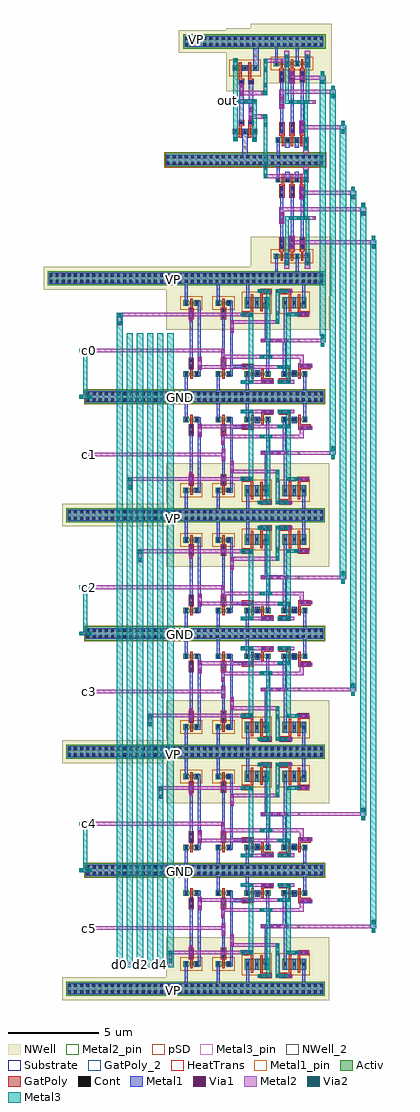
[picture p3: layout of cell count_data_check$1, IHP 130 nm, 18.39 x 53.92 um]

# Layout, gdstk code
from math import pi, radians
import gdstk
lib = gdstk.Library(unit=1e-6, precision=1e-09)
def R(c, l, rs):  # rectangles x0, y0, x1, y1
    for r in rs: c.add(gdstk.rectangle(r[:2], r[2:], *l))
def A(c, l, x, y, w, h, nx, ny, dx, dy):  # array of equal rectangles
    R(c, l, [(x+i*dx, y+j*dy, x+i*dx+w, y+j*dy+h) for i in range(nx) for j in range(ny)])
def P(c, l, *ps):  # polygons
    for p in ps: c.add(gdstk.Polygon(p, *l))
Activ = (1, 0)
GatPoly = (5, 0)
GatPoly_2 = (5, 2)
Cont = (6, 0)
Metal1 = (8, 0)
Metal1_pin = (8, 2)
Metal2 = (10, 0)
Metal2_pin = (10, 2)
pSD = (14, 0)
Via1 = (19, 0)
Via2 = (29, 0)
Metal3 = (30, 0)
Metal3_pin = (30, 2)
NWell = (31, 0)
NWell_2 = (31, 2)
Substrate = (40, 0)
HeatTrans = (51, 0)

via_4_7_1_1 = lib.new_cell('Via$4$7$1$1')
R(via_4_7_1_1, Metal1, [(-0.105,-0.35,0.105,0.35)])
R(via_4_7_1_1, Metal2, [(-0.1,-0.35,0.1,0.35)])
R(via_4_7_1_1, Via1, [(-0.095,-0.3,0.095,-0.11), (-0.095,0.11,0.095,0.3)])

via_7_5_1_1 = lib.new_cell('Via$7$5$1$1')
R(via_7_5_1_1, Metal2, [(-0.1,-0.555,0.1,0.555)])
A(via_7_5_1_1, Via2, -0.095, -0.505, 0.19, 0.19, 1, 3, 0, 0.41)
R(via_7_5_1_1, Metal3, [(-0.1,-0.555,0.1,0.555)])

nmos_4_3_1_1 = lib.new_cell('nmos$4$3$1$1')
A(nmos_4_3_1_1, Activ, 0, 0, 0.3, 0.3, 4, 1, 0.51, 0)
R(nmos_4_3_1_1, Activ, [(0,0,1.83,0.3)])
A(nmos_4_3_1_1, GatPoly, 0.34, -0.18, 0.13, 0.66, 3, 1, 0.51, 0)
R(nmos_4_3_1_1, GatPoly_2, [(0.34,-0.18,0.47,0.48)])
A(nmos_4_3_1_1, Cont, 0.07, 0.07, 0.16, 0.16, 4, 1, 0.51, 0)
A(nmos_4_3_1_1, Metal1, 0.07, 0, 0.16, 0.3, 4, 1, 0.51, 0)
R(nmos_4_3_1_1, Metal1_pin, [(0.07,0,0.23,0.3), (0.58,0,0.74,0.3)])
A(nmos_4_3_1_1, HeatTrans, 0.34, -0.18, 0.13, 0.66, 3, 1, 0.51, 0)
nmos_4_3_1_1.add(gdstk.Label('nmos', (0.405,0.15), layer=63, texttype=0))
nmos_4_3_1_1.add(gdstk.Label('nmos', (0.405,0.15), layer=51, texttype=0))
nmos_4_3_1_1.add(gdstk.Label('nmos', (0.915,0.15), layer=51, texttype=0))
nmos_4_3_1_1.add(gdstk.Label('nmos', (1.425,0.15), layer=51, texttype=0))

ntap1_1_1_1 = lib.new_cell('ntap1$1$1$1')
R(ntap1_1_1_1, Activ, [(0,0,3.5,0.78)])
A(ntap1_1_1_1, Cont, 0.14, 0.14, 0.16, 0.16, 10, 2, 0.34, 0.34)
R(ntap1_1_1_1, Metal1, [(0.14,0.09,3.36,0.69)])
R(ntap1_1_1_1, Metal1_pin, [(0.14,0.09,3.36,0.69), (0.14,0.14,3.36,0.64)])
R(ntap1_1_1_1, NWell, [(-0.24,-0.24,3.74,1.02), (0,0,3.5,0.78)])
R(ntap1_1_1_1, NWell_2, [(0,0,3.5,0.78)])
ntap1_1_1_1.add(gdstk.Label('well', (1.75,0.01), layer=63, texttype=0))
ntap1_1_1_1.add(gdstk.Label('well', (1.75,0.01), layer=31, texttype=0))

ptap1_3_5_1_1 = lib.new_cell('ptap1$3$5$1$1')
R(ptap1_3_5_1_1, Activ, [(0,0,3.5,0.78)])
A(ptap1_3_5_1_1, Cont, 0.14, 0.14, 0.16, 0.16, 10, 2, 0.34, 0.34)
R(ptap1_3_5_1_1, Metal1, [(0.14,0.09,3.36,0.69), (0.14,0.14,3.36,0.64)])
R(ptap1_3_5_1_1, Metal1_pin, [(0.14,0.14,3.36,0.64)])
R(ptap1_3_5_1_1, pSD, [(-0.03,-0.03,3.53,0.81)])
R(ptap1_3_5_1_1, Substrate, [(0,0,3.5,0.78)])
ptap1_3_5_1_1.add(gdstk.Label('sub!', (1.75,0.01), layer=63, texttype=0))
ptap1_3_5_1_1.add(gdstk.Label('sub!', (1.75,0.01), layer=40, texttype=0))

via_5_7_1_1 = lib.new_cell('Via$5$7$1$1')
R(via_5_7_1_1, Metal2, [(-0.1,-0.35,0.1,0.35)])
R(via_5_7_1_1, Via2, [(-0.095,-0.3,0.095,-0.11), (-0.095,0.11,0.095,0.3)])
R(via_5_7_1_1, Metal3, [(-0.1,-0.35,0.1,0.35)])

via_6_5_1_1 = lib.new_cell('Via$6$5$1$1')
R(via_6_5_1_1, GatPoly, [(-0.32,-0.15,0.32,0.15)])
R(via_6_5_1_1, Cont, [(-0.25,-0.08,-0.09,0.08), (0.09,-0.08,0.25,0.08)])
R(via_6_5_1_1, Metal1, [(-0.3,-0.08,0.3,0.08)])

pmos_1_5_1_1 = lib.new_cell('pmos$1$5$1$1')
A(pmos_1_5_1_1, Activ, 0, 0, 0.3, 0.3, 4, 1, 0.57, 0)
R(pmos_1_5_1_1, Activ, [(0,0.075,2.01,0.225)])
A(pmos_1_5_1_1, GatPoly, 0.37, -0.105, 0.13, 0.51, 3, 1, 0.57, 0)
A(pmos_1_5_1_1, Cont, 0.07, 0.07, 0.16, 0.16, 4, 1, 0.57, 0)
A(pmos_1_5_1_1, Metal1, 0.07, 0.02, 0.16, 0.26, 4, 1, 0.57, 0)
R(pmos_1_5_1_1, pSD, [(-0.18,-0.225,2.19,0.525)])
R(pmos_1_5_1_1, NWell, [(-0.31,-0.31,2.32,0.61)])
R(pmos_1_5_1_1, Substrate, [(1.71,0,2.01,0.3)])
A(pmos_1_5_1_1, HeatTrans, 0.37, -0.105, 0.13, 0.51, 3, 1, 0.57, 0)
pmos_1_5_1_1.add(gdstk.Label('pmos', (0.435,0.15), layer=63, texttype=0))
pmos_1_5_1_1.add(gdstk.Label('pmos', (0.435,0.15), layer=51, texttype=0))
pmos_1_5_1_1.add(gdstk.Label('pmos', (1.005,0.15), layer=51, texttype=0))
pmos_1_5_1_1.add(gdstk.Label('pmos', (1.575,0.15), layer=51, texttype=0))

nand_3in_nmosx3_5_1_1 = lib.new_cell('NAND_3in_nmosx3$5$1$1')
R(nand_3in_nmosx3_5_1_1, GatPoly, [(0.115,-3.025,0.245,-2.915), (0.685,-3.025,0.815,-2.915), (0.035,-3.005,0.335,-2.895), (0.605,-3.005,0.905,-2.895), (1.165,-3.005,1.465,-2.895), (0.03,0.58,0.33,0.73), (0.6,0.58,0.9,0.73), (1.16,0.58,1.46,0.73), (0.68,0.68,0.81,0.77), (1.25,0.68,1.38,0.77)])
R(nand_3in_nmosx3_5_1_1, Metal1, [(-0.095,-4.15,0.065,-3.37), (0.375,-3.675,0.615,-3.415), (0.885,-3.675,1.125,-3.415), (0.375,-3.435,0.615,-3.095), (0.885,-3.435,1.125,-3.095), (0.67,-2.44,0.835,-2.09), (0.1,-2.42,0.265,-1.91), (0.67,-2.21,0.83,-1.27), (1.23,-2.21,1.39,-1.27), (0.1,-1.91,0.26,-0.56), (0.67,-1.31,0.83,-0.37), (1.23,-1.31,1.39,-0.37), (0.1,-0.62,0.26,-0.04), (1.23,-0.53,1.39,0), (0.67,-0.37,0.83,-0.11), (0.95,1,1.11,1.2), (-0.19,1.01,-0.03,1.15), (-0.19,1.115,-0.03,1.99), (0.95,1.115,1.11,1.94)])
R(nand_3in_nmosx3_5_1_1, Metal1_pin, [(0.44,-4.405,0.57,-4.275), (0.74,2.15,0.87,2.28)])
R(nand_3in_nmosx3_5_1_1, Metal2, [(1.375,-3.995,1.665,-3.795), (1.375,-3.795,1.665,-3.095), (1.155,-2.875,1.455,-2.175), (0.03,-1.51,0.33,-0.81), (1.62,-1.24,2.05,-1.04), (0.59,-0.14,0.89,0.56), (0.31,0.78,0.6,0.98), (1.45,0.78,1.74,0.98), (0.31,0.98,0.6,1.68), (1.45,0.98,1.74,1.68)])
R(nand_3in_nmosx3_5_1_1, Metal2_pin, [(1.255,-2.385,1.385,-2.255), (0.11,-1.215,0.24,-1.085), (1.905,-1.205,2.035,-1.075), (0.69,-0.07,0.82,0.06)])
R(nand_3in_nmosx3_5_1_1, Metal3, [(1.425,-3.105,1.625,-2.905), (1.425,-2.905,1.625,-2.5), (1.425,-2.5,1.625,-1.15), (0.36,-1.24,0.56,-0.97), (0.38,-1.24,0.565,-1.04), (1.66,-1.24,1.7,-1.09), (1.5,-1.09,1.7,0.17), (0.36,-0.97,0.56,0.26), (1.5,-0.03,1.7,0.62), (0.36,0.08,0.56,0.78), (1.5,0.62,1.7,0.72), (1.5,0.71,1.7,0.87)])
R(nand_3in_nmosx3_5_1_1, NWell, [(-1.52,-0.1,-0.85,3.17), (-0.85,-0.1,2.93,3.17)])
nand_3in_nmosx3_5_1_1.add(gdstk.Reference(via_4_7_1_1, (1.525,-3.445), rotation=pi))
nand_3in_nmosx3_5_1_1.add(gdstk.Reference(via_4_7_1_1, (1.315,-2.525), rotation=pi))
nand_3in_nmosx3_5_1_1.add(gdstk.Reference(via_4_7_1_1, (0.18,-1.16), rotation=pi))
nand_3in_nmosx3_5_1_1.add(gdstk.Reference(via_4_7_1_1, (0.75,0.21), rotation=pi))
nand_3in_nmosx3_5_1_1.add(gdstk.Reference(via_4_7_1_1, (0.46,1.13), rotation=pi))
nand_3in_nmosx3_5_1_1.add(gdstk.Reference(via_4_7_1_1, (1.6,1.13), rotation=pi))
nand_3in_nmosx3_5_1_1.add(gdstk.Reference(via_7_5_1_1, (1.12,-1.14), rotation=3*pi/2))
nand_3in_nmosx3_5_1_1.add(gdstk.Reference(nmos_4_3_1_1, (1.665,-3.095), rotation=pi))
nand_3in_nmosx3_5_1_1.add(gdstk.Reference(ntap1_1_1_1, (-0.9,1.81)))
nand_3in_nmosx3_5_1_1.add(gdstk.Reference(ptap1_3_5_1_1, (-0.89,-4.73)))
nand_3in_nmosx3_5_1_1.add(gdstk.Reference(via_5_7_1_1, (1.525,-3.445), rotation=pi))
nand_3in_nmosx3_5_1_1.add(gdstk.Reference(via_5_7_1_1, (0.46,1.13), rotation=pi))
nand_3in_nmosx3_5_1_1.add(gdstk.Reference(via_5_7_1_1, (1.6,1.13), rotation=pi))
nand_3in_nmosx3_5_1_1.add(gdstk.Reference(via_6_5_1_1, (0.185,-2.575), rotation=3*pi/2))
nand_3in_nmosx3_5_1_1.add(gdstk.Reference(via_6_5_1_1, (0.755,-2.575), rotation=3*pi/2))
nand_3in_nmosx3_5_1_1.add(gdstk.Reference(via_6_5_1_1, (1.315,-2.575), rotation=3*pi/2))
nand_3in_nmosx3_5_1_1.add(gdstk.Reference(via_6_5_1_1, (0.18,0.26), rotation=3*pi/2))
nand_3in_nmosx3_5_1_1.add(gdstk.Reference(via_6_5_1_1, (0.75,0.26), rotation=3*pi/2))
nand_3in_nmosx3_5_1_1.add(gdstk.Reference(via_6_5_1_1, (1.31,0.26), rotation=3*pi/2))
nand_3in_nmosx3_5_1_1.add(gdstk.Reference(pmos_1_5_1_1, (1.75,1.13), rotation=pi))
nand_3in_nmosx3_5_1_1.add(gdstk.Label('VP', (0.8,2.21), layer=8, texttype=25))
nand_3in_nmosx3_5_1_1.add(gdstk.Label('GND', (0.505,-4.335), layer=8, texttype=25))
nand_3in_nmosx3_5_1_1.add(gdstk.Label('y', (1.97,-1.14), layer=10, texttype=25))
nand_3in_nmosx3_5_1_1.add(gdstk.Label('b', (0.76,0.02), layer=10, texttype=25))
nand_3in_nmosx3_5_1_1.add(gdstk.Label('c', (0.17,-1.15), layer=10, texttype=25))
nand_3in_nmosx3_5_1_1.add(gdstk.Label('a', (1.315,-2.325), layer=10, texttype=25))

nand_3in_1 = lib.new_cell('NAND_3in$1')
nand_3in_1.add(gdstk.Reference(nand_3in_nmosx3_5_1_1, (0.25,42.24)))

ntap1_37_2 = lib.new_cell('ntap1$37$2')
R(ntap1_37_2, Activ, [(0,0,7.8,0.78)])
A(ntap1_37_2, Cont, 0.08, 0.14, 0.16, 0.16, 23, 2, 0.34, 0.34)
R(ntap1_37_2, Metal1, [(0.08,0.09,7.72,0.69)])
R(ntap1_37_2, Metal1_pin, [(0.08,0.09,7.72,0.69), (0.08,0.14,7.72,0.64)])
R(ntap1_37_2, NWell, [(-0.24,-0.24,8.04,1.02), (0,0,7.8,0.78)])
R(ntap1_37_2, NWell_2, [(0,0,7.8,0.78)])
ntap1_37_2.add(gdstk.Label('well', (3.9,0.01), layer=63, texttype=0))
ntap1_37_2.add(gdstk.Label('well', (3.9,0.01), layer=31, texttype=0))

via_17_1 = lib.new_cell('Via$17$1')
R(via_17_1, Metal2, [(-0.35,-0.1,0.35,0.1)])
R(via_17_1, Via2, [(-0.3,-0.095,-0.11,0.095), (0.11,-0.095,0.3,0.095)])
R(via_17_1, Metal3, [(-0.35,-0.1,0.35,0.1)])

pmos_4_4 = lib.new_cell('pmos$4$4')
R(pmos_4_4, Activ, [(0,0,0.3,0.3), (0.57,0,0.87,0.3), (0,0.075,0.87,0.225)])
R(pmos_4_4, GatPoly, [(0.37,-0.105,0.5,0.405), (0.37,-0.105,0.5,0.405)])
R(pmos_4_4, Cont, [(0.07,0.07,0.23,0.23), (0.64,0.07,0.8,0.23)])
R(pmos_4_4, Metal1, [(0.07,0.02,0.23,0.28), (0.07,0.02,0.23,0.28), (0.64,0.02,0.8,0.28), (0.64,0.02,0.8,0.28)])
R(pmos_4_4, pSD, [(-0.18,-0.225,1.05,0.525)])
R(pmos_4_4, NWell, [(-0.31,-0.31,1.18,0.61)])
R(pmos_4_4, Substrate, [(0.57,0,0.87,0.3)])
R(pmos_4_4, HeatTrans, [(0.37,-0.105,0.5,0.405)])
pmos_4_4.add(gdstk.Label('pmos', (0.435,0.15), layer=63, texttype=0))
pmos_4_4.add(gdstk.Label('pmos', (0.435,0.15), layer=51, texttype=0))

pmos_3_2_1 = lib.new_cell('pmos$3$2$1')
A(pmos_3_2_1, Activ, 0, 0, 0.3, 0.3, 3, 1, 0.51, 0)
R(pmos_3_2_1, Activ, [(0,0,1.32,0.6)])
R(pmos_3_2_1, GatPoly, [(0.34,-0.18,0.47,0.78), (0.34,-0.18,0.47,0.78), (0.85,-0.18,0.98,0.78)])
A(pmos_3_2_1, Cont, 0.07, 0.22, 0.16, 0.16, 3, 1, 0.51, 0)
R(pmos_3_2_1, Metal1, [(0.07,0,0.23,0.6), (0.07,0,0.23,0.6), (0.58,0,0.74,0.6), (0.58,0,0.74,0.6), (1.09,0,1.25,0.6)])
R(pmos_3_2_1, pSD, [(-0.18,-0.3,1.5,0.9)])
R(pmos_3_2_1, NWell, [(-0.31,-0.31,1.63,0.91)])
R(pmos_3_2_1, Substrate, [(1.02,0,1.32,0.3)])
R(pmos_3_2_1, HeatTrans, [(0.34,-0.18,0.47,0.78), (0.85,-0.18,0.98,0.78)])
pmos_3_2_1.add(gdstk.Label('pmos', (0.405,0.3), layer=63, texttype=0))
pmos_3_2_1.add(gdstk.Label('pmos', (0.405,0.3), layer=51, texttype=0))
pmos_3_2_1.add(gdstk.Label('pmos', (0.915,0.3), layer=51, texttype=0))

nmos_19_2 = lib.new_cell('nmos$19$2')
R(nmos_19_2, Activ, [(0,0,0.3,0.3), (0.57,0,0.87,0.3), (0,0.075,0.87,0.225)])
R(nmos_19_2, GatPoly, [(0.37,-0.105,0.5,0.405)])
R(nmos_19_2, GatPoly_2, [(0.37,-0.105,0.5,0.405)])
R(nmos_19_2, Cont, [(0.07,0.07,0.23,0.23), (0.64,0.07,0.8,0.23)])
R(nmos_19_2, Metal1, [(0.07,0.02,0.23,0.28), (0.64,0.02,0.8,0.28)])
R(nmos_19_2, Metal1_pin, [(0.07,0.02,0.23,0.28), (0.64,0.02,0.8,0.28)])
R(nmos_19_2, HeatTrans, [(0.37,-0.105,0.5,0.405)])
nmos_19_2.add(gdstk.Label('nmos', (0.435,0.15), layer=63, texttype=0))
nmos_19_2.add(gdstk.Label('nmos', (0.435,0.15), layer=51, texttype=0))

nmos_5_5 = lib.new_cell('nmos$5$5')
A(nmos_5_5, Activ, 0, 0, 0.3, 0.3, 3, 1, 0.57, 0)
R(nmos_5_5, Activ, [(0,0.075,1.44,0.225)])
R(nmos_5_5, GatPoly, [(0.37,-0.105,0.5,0.405), (0.94,-0.105,1.07,0.405)])
R(nmos_5_5, GatPoly_2, [(0.37,-0.105,0.5,0.405)])
A(nmos_5_5, Cont, 0.07, 0.07, 0.16, 0.16, 3, 1, 0.57, 0)
A(nmos_5_5, Metal1, 0.07, 0.02, 0.16, 0.26, 3, 1, 0.57, 0)
R(nmos_5_5, Metal1_pin, [(0.07,0.02,0.23,0.28), (0.64,0.02,0.8,0.28)])
R(nmos_5_5, HeatTrans, [(0.37,-0.105,0.5,0.405), (0.94,-0.105,1.07,0.405)])
nmos_5_5.add(gdstk.Label('nmos', (0.435,0.15), layer=63, texttype=0))
nmos_5_5.add(gdstk.Label('nmos', (0.435,0.15), layer=51, texttype=0))
nmos_5_5.add(gdstk.Label('nmos', (1.005,0.15), layer=51, texttype=0))

via_6_9_1 = lib.new_cell('Via$6$9$1')
R(via_6_9_1, GatPoly, [(-0.15,-0.32,0.15,0.32)])
R(via_6_9_1, Cont, [(-0.08,-0.25,0.08,-0.09), (-0.08,0.09,0.08,0.25)])
R(via_6_9_1, Metal1, [(-0.08,-0.3,0.08,0.3)])

via_7_9_1 = lib.new_cell('Via$7$9$1')
R(via_7_9_1, Metal1, [(-0.76,-0.105,0.76,0.105)])
R(via_7_9_1, Metal2, [(-0.76,-0.1,0.76,0.1)])
A(via_7_9_1, Via1, -0.71, -0.095, 0.19, 0.19, 4, 1, 0.41, 0)

via_9_1_1 = lib.new_cell('Via$9$1$1')
R(via_9_1_1, Metal1, [(-0.35,-0.105,0.35,0.105)])
R(via_9_1_1, Metal2, [(-0.35,-0.1,0.35,0.1)])
R(via_9_1_1, Via1, [(-0.3,-0.095,-0.11,0.095), (0.11,-0.095,0.3,0.095)])

via_18_1_1 = lib.new_cell('Via$18$1$1')
R(via_18_1_1, Metal2, [(-0.35,-0.1,0.35,0.1)])
R(via_18_1_1, Via2, [(-0.3,-0.095,-0.11,0.095), (0.11,-0.095,0.3,0.095)])
R(via_18_1_1, Metal3, [(-0.35,-0.1,0.35,0.1)])

ptap1_1_1_1 = lib.new_cell('ptap1$1$1$1')
R(ptap1_1_1_1, Activ, [(0,0,8.5,0.78)])
A(ptap1_1_1_1, Cont, 0.09, 0.14, 0.16, 0.16, 25, 2, 0.34, 0.34)
R(ptap1_1_1_1, Metal1, [(0.09,0.09,8.41,0.69), (0.09,0.14,8.41,0.64)])
R(ptap1_1_1_1, Metal1_pin, [(0.09,0.14,8.41,0.64)])
R(ptap1_1_1_1, pSD, [(-0.03,-0.03,8.53,0.81)])
R(ptap1_1_1_1, Substrate, [(0,0,8.5,0.78)])
ptap1_1_1_1.add(gdstk.Label('sub!', (4.25,0.01), layer=63, texttype=0))
ptap1_1_1_1.add(gdstk.Label('sub!', (4.25,0.01), layer=40, texttype=0))

ntap1_2_9_2 = lib.new_cell('ntap1$2$9$2')
R(ntap1_2_9_2, Activ, [(0,0,8.5,0.78)])
A(ntap1_2_9_2, Cont, 0.09, 0.14, 0.16, 0.16, 25, 2, 0.34, 0.34)
R(ntap1_2_9_2, Metal1, [(0.09,0.09,8.41,0.69)])
R(ntap1_2_9_2, Metal1_pin, [(0.09,0.09,8.41,0.69), (0.09,0.14,8.41,0.64)])
R(ntap1_2_9_2, NWell, [(-0.24,-0.24,8.74,1.02), (0,0,8.5,0.78)])
R(ntap1_2_9_2, NWell_2, [(0,0,8.5,0.78)])
ntap1_2_9_2.add(gdstk.Label('well', (4.25,0.01), layer=63, texttype=0))
ntap1_2_9_2.add(gdstk.Label('well', (4.25,0.01), layer=31, texttype=0))

xnor_1_1 = lib.new_cell('XNOR$1$1')
R(xnor_1_1, GatPoly, [(5.14,-5.055,5.24,-4.76), (6.64,-5.055,6.74,-4.76), (7.18,-4.34,7.31,-4.24), (4.57,-4.275,4.7,-4.175), (7.18,-4.25,7.31,-3.935), (4.68,-4.24,4.7,-3.94)])
R(xnor_1_1, Metal1, [(2.68,-5.94,2.84,-4.95), (7.45,-5.94,7.61,-4.98), (0.9,-5.86,1.06,-5.03), (4.27,-5.77,4.43,-4.955), (4.27,-5.275,4.43,-4.635), (0.9,-5.155,1.06,-4.575), (2.68,-5.155,2.84,-4.575), (7.45,-5.145,7.61,-4.635), (4.78,-4.665,5.01,-4.615), (5.01,-4.665,5.06,-4.305), (6.82,-4.665,7.05,-4.615), (7.05,-4.665,7.1,-4.305), (1.63,-4.635,1.78,-4.375), (3.41,-4.635,3.56,-4.375), (4.78,-4.615,5.01,-4.355), (6.82,-4.615,7.05,-4.355), (5.41,-4.46,5.57,-4.32), (6.31,-4.44,6.47,-4.25), (1.62,-4.385,1.78,-2.985), (3.4,-4.385,3.56,-2.985), (5.41,-4.375,5.57,-3.715), (6.31,-4.375,6.47,-3.715), (4.78,-4.355,5.01,-4.305), (6.82,-4.355,7.05,-4.305), (3.4,-4.17,4.06,-4.01), (1.18,-3.825,1.34,-2.425), (2.96,-3.825,3.12,-2.425), (5.41,-3.795,5.57,-3.135), (6.31,-3.795,6.47,-3.135), (6.31,-3.725,6.47,-3.065), (5.41,-3.715,5.57,-3.055), (1.62,-3.38,1.78,-1.78), (5.41,-3.3,5.57,-2.67), (3.4,-3.24,3.56,-1.48), (6.31,-3.24,6.47,-2.67), (5.31,-2.775,5.47,-2.09), (6.37,-2.67,6.53,-2.05), (2.96,-2.55,3.12,-1.53), (1.18,-2.51,1.34,-1.5), (5.31,-2.09,5.47,-1.09), (6.37,-2.09,6.53,-1.09), (1.62,-2.04,1.78,-0.64), (3.4,-2.04,3.56,-0.64), (1.62,-1.86,1.78,-0.46), (3.4,-1.86,3.56,-0.46), (1.18,-1.56,1.34,-1.44), (2.96,-1.56,3.12,-1.44), (6.37,-1.33,6.53,-0.87), (5.31,-1.31,5.47,-0.87), (0.9,-0.57,1.06,-0.38), (2.68,-0.55,2.84,-0.38), (0.9,-0.46,1.06,0.39), (2.68,-0.46,2.84,0.39), (4.29,-0.37,4.45,-0.25), (7.39,-0.37,7.55,-0.23), (4.29,-0.27,4.45,0.49), (7.39,-0.27,7.55,0.51), (2.68,0.27,2.84,0.79), (0.9,0.39,1.06,0.75)])
P(xnor_1_1, Metal1, [(0.9,-0.4),(0.9,-0.4),(0.9,-0.4),(0.9,-0.4)])
R(xnor_1_1, Metal1_pin, [(4.265,-5.825,4.395,-5.695), (1.195,-2.1,1.325,-1.97), (2.975,-2.08,3.105,-1.95), (4.205,0.695,4.335,0.825)])
R(xnor_1_1, Metal2, [(4.68,-5.05,5.4,-4.85), (6.05,-5.045,6.81,-4.845), (6.64,-5.045,6.96,-4.845), (1.64,-4.225,4.15,-4.025), (3.97,-4.225,6.48,-4.025), (7.24,-4.05,7.48,-3.95), (7.24,-3.955,7.48,-3.485), (2.91,-3.665,5.42,-3.465), (4.97,-3.665,7.48,-3.465), (6.32,-2.77,7.32,-2.57), (3.59,-1.74,6.1,-1.54), (1.23,-1.33,3.74,-1.13), (1.48,-1.33,3.99,-1.13), (6.605,-1.31,7.07,-1.11)])
R(xnor_1_1, Metal2_pin, [(7.135,-2.735,7.265,-2.605)])
R(xnor_1_1, Metal3, [(6.51,-5.04,6.75,-3.035), (4.44,-4.905,4.68,-2.225), (6.51,-4.22,6.75,-2.215), (5.39,-3.635,5.63,-0.955), (6.51,-2.31,6.75,-1.22), (4.44,-2.225,4.68,-1.33), (5.93,-1.11,6.13,-1.01), (5.93,-1.03,6.13,0.16), (5.39,-0.955,5.63,0.07)])
R(xnor_1_1, NWell, [(-0.11,-2.08,8.87,0.37), (0.18,-1.74,8.17,0.76)])
xnor_1_1.add(gdstk.Reference(pmos_4_4, (2.61,-0.75)))
xnor_1_1.add(gdstk.Reference(pmos_3_2_1, (6.3,-0.88)))
xnor_1_1.add(gdstk.Reference(nmos_19_2, (2.61,-4.66)))
xnor_1_1.add(gdstk.Reference(nmos_5_5, (4.2,-4.66)))
xnor_1_1.add(gdstk.Reference(nmos_5_5, (6.24,-4.66)))
xnor_1_1.add(gdstk.Reference(pmos_4_4, (0.83,-0.75)))
xnor_1_1.add(gdstk.Reference(pmos_3_2_1, (4.22,-0.88)))
xnor_1_1.add(gdstk.Reference(nmos_19_2, (0.83,-4.66)))
xnor_1_1.add(gdstk.Reference(via_6_9_1, (1.26,-3.94)))
xnor_1_1.add(gdstk.Reference(via_6_9_1, (1.26,-1.17)))
xnor_1_1.add(gdstk.Reference(via_6_9_1, (7.47,-1.21), rotation=pi/2))
xnor_1_1.add(gdstk.Reference(via_6_9_1, (5.39,0.05), rotation=pi/2))
xnor_1_1.add(gdstk.Reference(via_6_9_1, (6.45,0.05), rotation=pi/2))
xnor_1_1.add(gdstk.Reference(via_6_9_1, (5.48,-4.91), rotation=pi/2))
xnor_1_1.add(gdstk.Reference(via_6_9_1, (7.54,-4.09), rotation=pi/2))
xnor_1_1.add(gdstk.Reference(via_6_9_1, (4.36,-4.09), rotation=pi/2))
xnor_1_1.add(gdstk.Reference(via_6_9_1, (4.37,-1.21), rotation=pi/2))
xnor_1_1.add(gdstk.Reference(via_7_9_1, (5.87,-2.67)))
xnor_1_1.add(gdstk.Reference(via_6_9_1, (6.4,-4.91), rotation=pi/2))
xnor_1_1.add(gdstk.Reference(via_6_9_1, (3.04,-3.94)))
xnor_1_1.add(gdstk.Reference(via_6_9_1, (3.04,-1.17)))
xnor_1_1.add(gdstk.Reference(via_9_1_1, (1.24,-1.28), rotation=pi/2))
xnor_1_1.add(gdstk.Reference(via_9_1_1, (4.34,-1.23), rotation=pi))
xnor_1_1.add(gdstk.Reference(via_18_1_1, (4.33,-1.23)))
xnor_1_1.add(gdstk.Reference(via_18_1_1, (4.33,-4.95)))
xnor_1_1.add(gdstk.Reference(via_9_1_1, (5.48,-4.95)))
xnor_1_1.add(gdstk.Reference(via_9_1_1, (6.4,-4.95)))
xnor_1_1.add(gdstk.Reference(via_9_1_1, (1.73,-3.92), rotation=pi/2))
xnor_1_1.add(gdstk.Reference(via_18_1_1, (6.4,-4.95)))
xnor_1_1.add(gdstk.Reference(via_18_1_1, (6.4,-4.13)))
xnor_1_1.add(gdstk.Reference(via_9_1_1, (7.42,-1.22)))
xnor_1_1.add(gdstk.Reference(via_9_1_1, (3.01,-3.46), rotation=pi/2))
xnor_1_1.add(gdstk.Reference(via_9_1_1, (7.59,-4.06)))
xnor_1_1.add(gdstk.Reference(via_18_1_1, (5.39,-3.57)))
xnor_1_1.add(gdstk.Reference(via_18_1_1, (5.28,0.07)))
xnor_1_1.add(gdstk.Reference(via_18_1_1, (6.86,-1.22)))
xnor_1_1.add(gdstk.Reference(via_9_1_1, (3.51,-1.89), rotation=pi/2))
xnor_1_1.add(gdstk.Reference(via_18_1_1, (6.03,-1.39), rotation=pi/2))
xnor_1_1.add(gdstk.Reference(via_9_1_1, (5.34,0.07)))
xnor_1_1.add(gdstk.Reference(via_9_1_1, (6.5,0.07)))
xnor_1_1.add(gdstk.Reference(via_18_1_1, (6.28,0.07)))
xnor_1_1.add(gdstk.Reference(ptap1_1_1_1, (0.14,-6.16)))
xnor_1_1.add(gdstk.Reference(ntap1_2_9_2, (0.13,0.38)))
xnor_1_1.add(gdstk.Label('GND', (4.33,-5.76), layer=8, texttype=25))
xnor_1_1.add(gdstk.Label('VP', (4.27,0.76), layer=8, texttype=25))
xnor_1_1.add(gdstk.Label('a', (1.26,-2.03), layer=8, texttype=25))
xnor_1_1.add(gdstk.Label('b', (3.04,-2.01), layer=8, texttype=25))
xnor_1_1.add(gdstk.Label('y', (7.2,-2.67), layer=10, texttype=25))

via_16_1 = lib.new_cell('Via$16$1')
R(via_16_1, Metal1, [(-0.35,-0.105,0.35,0.105)])
R(via_16_1, Metal2, [(-0.35,-0.1,0.35,0.1)])
R(via_16_1, Via1, [(-0.3,-0.095,-0.11,0.095), (0.11,-0.095,0.3,0.095)])

ptap1_7_1 = lib.new_cell('ptap1$7$1')
R(ptap1_7_1, Activ, [(0,0,7.8,0.78)])
A(ptap1_7_1, Cont, 0.08, 0.14, 0.16, 0.16, 23, 2, 0.34, 0.34)
R(ptap1_7_1, Metal1, [(0.08,0.09,7.72,0.69), (0.08,0.14,7.72,0.64)])
R(ptap1_7_1, Metal1_pin, [(0.08,0.14,7.72,0.64)])
R(ptap1_7_1, pSD, [(-0.03,-0.03,7.83,0.81)])
R(ptap1_7_1, Substrate, [(0,0,7.8,0.78)])
ptap1_7_1.add(gdstk.Label('sub!', (3.9,0.01), layer=63, texttype=0))
ptap1_7_1.add(gdstk.Label('sub!', (3.9,0.01), layer=40, texttype=0))

via_11_2 = lib.new_cell('Via$11$2')
R(via_11_2, Metal2, [(-0.1,-0.35,0.1,0.35)])
R(via_11_2, Via2, [(-0.095,-0.3,0.095,-0.11), (-0.095,0.11,0.095,0.3)])
R(via_11_2, Metal3, [(-0.1,-0.35,0.1,0.35)])

pmos_1_2_2 = lib.new_cell('pmos$1$2$2')
R(pmos_1_2_2, Activ, [(0,0,0.3,0.3), (0,0,0.83,0.3), (0.53,0,0.83,0.3)])
R(pmos_1_2_2, GatPoly, [(0.34,-0.18,0.49,0.48), (0.34,-0.18,0.49,0.48)])
R(pmos_1_2_2, Cont, [(0.07,0.07,0.23,0.23), (0.6,0.07,0.76,0.23)])
R(pmos_1_2_2, Metal1, [(0.07,0,0.23,0.3), (0.07,0,0.23,0.3), (0.6,0,0.76,0.3), (0.6,0,0.76,0.3)])
R(pmos_1_2_2, pSD, [(-0.18,-0.3,1.01,0.6)])
R(pmos_1_2_2, NWell, [(-0.31,-0.31,1.14,0.61)])
R(pmos_1_2_2, Substrate, [(0.53,0,0.83,0.3)])
R(pmos_1_2_2, HeatTrans, [(0.34,-0.18,0.49,0.48)])
pmos_1_2_2.add(gdstk.Label('pmos', (0.415,0.15), layer=63, texttype=0))
pmos_1_2_2.add(gdstk.Label('pmos', (0.415,0.15), layer=51, texttype=0))

via_5_4_1 = lib.new_cell('Via$5$4$1')
R(via_5_4_1, GatPoly, [(-0.15,-0.15,0.15,0.15)])
R(via_5_4_1, Cont, [(-0.08,-0.08,0.08,0.08)])
R(via_5_4_1, Metal1, [(-0.13,-0.08,0.13,0.08)])

via_6_1_3 = lib.new_cell('Via$6$1$3')
R(via_6_1_3, Metal1, [(-0.105,-0.35,0.105,0.35)])
R(via_6_1_3, Metal2, [(-0.1,-0.35,0.1,0.35)])
R(via_6_1_3, Via1, [(-0.095,-0.3,0.095,-0.11), (-0.095,0.11,0.095,0.3)])

ptap1_2_4_1 = lib.new_cell('ptap1$2$4$1')
R(ptap1_2_4_1, Activ, [(0,0,1.6,0.78)])
A(ptap1_2_4_1, Cont, 0.21, 0.14, 0.16, 0.16, 4, 2, 0.34, 0.34)
R(ptap1_2_4_1, Metal1, [(0.21,0.09,1.39,0.69), (0.21,0.14,1.39,0.64)])
R(ptap1_2_4_1, Metal1_pin, [(0.21,0.14,1.39,0.64)])
R(ptap1_2_4_1, pSD, [(-0.03,-0.03,1.63,0.81)])
R(ptap1_2_4_1, Substrate, [(0,0,1.6,0.78)])
ptap1_2_4_1.add(gdstk.Label('sub!', (0.8,0.01), layer=63, texttype=0))
ptap1_2_4_1.add(gdstk.Label('sub!', (0.8,0.01), layer=40, texttype=0))

nmos_1_9 = lib.new_cell('nmos$1$9')
R(nmos_1_9, Activ, [(0,0,0.3,0.3), (0,0,0.83,0.3), (0.53,0,0.83,0.3)])
R(nmos_1_9, GatPoly, [(0.34,-0.18,0.49,0.48)])
R(nmos_1_9, GatPoly_2, [(0.34,-0.18,0.49,0.48)])
R(nmos_1_9, Cont, [(0.07,0.07,0.23,0.23), (0.6,0.07,0.76,0.23)])
R(nmos_1_9, Metal1, [(0.07,0,0.23,0.3), (0.6,0,0.76,0.3)])
R(nmos_1_9, Metal1_pin, [(0.07,0,0.23,0.3), (0.6,0,0.76,0.3)])
R(nmos_1_9, HeatTrans, [(0.34,-0.18,0.49,0.48)])
nmos_1_9.add(gdstk.Label('nmos', (0.415,0.15), layer=63, texttype=0))
nmos_1_9.add(gdstk.Label('nmos', (0.415,0.15), layer=51, texttype=0))

via_20_1 = lib.new_cell('Via$20$1')
R(via_20_1, Metal2, [(-0.1,-0.35,0.1,0.35)])
R(via_20_1, Via2, [(-0.095,-0.3,0.095,-0.11), (-0.095,0.11,0.095,0.3)])
R(via_20_1, Metal3, [(-0.1,-0.35,0.1,0.35)])

via_7_1_3 = lib.new_cell('Via$7$1$3')
R(via_7_1_3, Metal2, [(-0.555,-0.1,0.555,0.1)])
A(via_7_1_3, Via2, -0.505, -0.095, 0.19, 0.19, 3, 1, 0.41, 0)
R(via_7_1_3, Metal3, [(-0.555,-0.1,0.555,0.1)])

ntap1_3_1_2 = lib.new_cell('ntap1$3$1$2')
R(ntap1_3_1_2, Activ, [(0,0,1.6,0.78)])
A(ntap1_3_1_2, Cont, 0.21, 0.14, 0.16, 0.16, 4, 2, 0.34, 0.34)
R(ntap1_3_1_2, Metal1, [(0.21,0.09,1.39,0.69)])
R(ntap1_3_1_2, Metal1_pin, [(0.21,0.09,1.39,0.69), (0.21,0.14,1.39,0.64)])
R(ntap1_3_1_2, NWell, [(-0.24,-0.24,1.84,1.02), (0,0,1.6,0.78)])
R(ntap1_3_1_2, NWell_2, [(0,0,1.6,0.78)])
ntap1_3_1_2.add(gdstk.Label('well', (0.8,0.01), layer=63, texttype=0))
ntap1_3_1_2.add(gdstk.Label('well', (0.8,0.01), layer=31, texttype=0))

nor_2in_1 = lib.new_cell('NOR_2in$1')
R(nor_2in_1, GatPoly, [(4.19,0.13,4.34,0.41), (4.72,0.14,4.87,0.41)])
R(nor_2in_1, Metal1, [(3.82,-4.64,5.18,-4.04), (4.38,0.59,4.68,0.89)])
R(nor_2in_1, Metal1_pin, [(4.475,-3.705,4.605,-3.575), (5.065,1.365,5.195,1.495)])
R(nor_2in_1, Metal2, [(3.4,-1.23,5.105,-1)])
R(nor_2in_1, Metal2_pin, [(5.415,-2.005,5.545,-1.875), (3.405,-1.185,3.535,-1.055), (5.415,-0.715,5.545,-0.585)])
R(nor_2in_1, NWell, [(3.48,-0.55,5.56,2.93)])
nor_2in_1.add(gdstk.FlexPath([(5.13,0.59),(5.13,2.5)], 0.3, ends="flush", simple_path=True, layer=8, datatype=0))  # Metal1
nor_2in_1.add(gdstk.FlexPath([(4.85,0.07),(4.85,-2.38)], 0.25, ends="flush", simple_path=True, layer=8, datatype=0))  # Metal1
nor_2in_1.add(gdstk.FlexPath([(4.34,0.07),(4.34,-2.38)], 0.25, ends="flush", simple_path=True, layer=8, datatype=0))  # Metal1
nor_2in_1.add(gdstk.FlexPath([(4.54,-2.63),(4.54,-4.04)], 0.3, ends="flush", simple_path=True, layer=8, datatype=0))  # Metal1
nor_2in_1.add(gdstk.FlexPath([(3.995,-2.62),(3.995,-3.32)], 0.25, ends="flush", simple_path=True, layer=10, datatype=0))  # Metal2
nor_2in_1.add(gdstk.FlexPath([(5.06,-2.63),(5.06,-3.33)], 0.25, ends="flush", simple_path=True, layer=10, datatype=0))  # Metal2
nor_2in_1.add(gdstk.FlexPath([(4,1.29),(4,0.59)], 0.25, ends="flush", simple_path=True, layer=10, datatype=0))  # Metal2
nor_2in_1.add(gdstk.FlexPath([(4.23,-0.65),(5.56,-0.65)], 0.25, ends="flush", simple_path=True, layer=10, datatype=0))  # Metal2
nor_2in_1.add(gdstk.FlexPath([(4.745,-1.945),(5.56,-1.945)], 0.25, ends="flush", simple_path=True, layer=10, datatype=0))  # Metal2
nor_2in_1.add(gdstk.FlexPath([(4,-3.32),(4,1.29)], 0.25, ends="flush", simple_path=True, layer=30, datatype=0))  # Metal3
nor_2in_1.add(gdstk.FlexPath([(5.055,-3.33),(5.055,-1)], 0.25, ends="flush", simple_path=True, layer=30, datatype=0))  # Metal3
nor_2in_1.add(gdstk.Reference(pmos_1_2_2, (5.21,0.59), rotation=pi, x_reflection=True))
nor_2in_1.add(gdstk.Reference(pmos_1_2_2, (4.68,0.59), rotation=pi, x_reflection=True))
nor_2in_1.add(gdstk.Reference(via_5_4_1, (4.85,-0.01), rotation=pi, x_reflection=True))
nor_2in_1.add(gdstk.Reference(via_5_4_1, (4.34,-0.01), rotation=pi, x_reflection=True))
nor_2in_1.add(gdstk.Reference(via_5_4_1, (4.85,-2.3), rotation=pi, x_reflection=True))
nor_2in_1.add(gdstk.Reference(via_5_4_1, (4.33,-2.3), rotation=pi, x_reflection=True))
nor_2in_1.add(gdstk.Reference(via_6_1_3, (4.845,-1.79), rotation=pi, x_reflection=True))
nor_2in_1.add(gdstk.Reference(via_6_1_3, (4.325,-0.44), rotation=pi, x_reflection=True))
nor_2in_1.add(gdstk.Reference(ptap1_2_4_1, (5.32,-4.73), rotation=pi, x_reflection=True))
nor_2in_1.add(gdstk.Reference(nmos_1_9, (5.21,-2.93), rotation=pi, x_reflection=True))
nor_2in_1.add(gdstk.Reference(nmos_1_9, (4.68,-2.93), rotation=pi, x_reflection=True))
nor_2in_1.add(gdstk.Reference(via_20_1, (4,0.94), rotation=pi, x_reflection=True))
nor_2in_1.add(gdstk.Reference(via_6_1_3, (3.995,0.94), rotation=pi, x_reflection=True))
nor_2in_1.add(gdstk.Reference(via_20_1, (4,-2.97), rotation=pi, x_reflection=True))
nor_2in_1.add(gdstk.Reference(via_6_1_3, (3.995,-2.97), rotation=pi, x_reflection=True))
nor_2in_1.add(gdstk.Reference(via_20_1, (5.06,-2.98), rotation=pi, x_reflection=True))
nor_2in_1.add(gdstk.Reference(via_6_1_3, (5.055,-2.98), rotation=pi, x_reflection=True))
nor_2in_1.add(gdstk.Reference(via_7_1_3, (4.575,-1.12), rotation=pi, x_reflection=True))
nor_2in_1.add(gdstk.Reference(ntap1_3_1_2, (3.71,1.81)))
nor_2in_1.add(gdstk.Label('gd', (4.54,-3.64), layer=8, texttype=25))
nor_2in_1.add(gdstk.Label('vp', (5.13,1.43), layer=8, texttype=25))
nor_2in_1.add(gdstk.Label('Out', (3.55,-1.12), layer=10, texttype=25))
nor_2in_1.add(gdstk.Label('A', (5.48,-0.65), layer=10, texttype=25))
nor_2in_1.add(gdstk.Label('B', (5.48,-1.94), layer=10, texttype=25))

count_data_check_1 = lib.new_cell('count_data_check$1')
R(count_data_check_1, Metal1_pin, [(15.9,-8.04,16,-7.94), (16.26,-1.45,16.36,-1.35), (15.9,5.03,16,5.13), (16.26,11.66,16.36,11.76), (15.9,18.06,16,18.16), (16.26,24.72,16.36,24.82), (15.9,31.28,16,31.38), (17.15,44.49,17.25,44.59)])
A(count_data_check_1, Metal2, 11.24, -4.64, 0.15, 0.2, 1, 3, 0, 13.08)
A(count_data_check_1, Metal2, 11.39, -4.64, 7.29, 0.2, 1, 3, 0, 13.08)
R(count_data_check_1, Metal2, [(15.63,-5.98,17.68,-5.78), (22.68,-4.54,23.5,-4.34), (23.5,-4.54,27.18,-4.34), (11.05,1.12,18.67,1.325), (11.24,1.125,11.39,1.32), (22.65,1.66,26.62,1.86), (15.07,3.1,17.12,3.3), (17.12,3.1,19.49,3.3), (14.51,7.1,16.56,7.3), (16.56,7.1,18.93,7.3), (22.825,8.54,26.06,8.705), (22.87,8.68,26.06,8.74), (11.05,14.195,18.67,14.4), (11.24,14.2,11.39,14.39), (22.86,14.74,25.5,14.94), (13.95,16.18,16,16.38), (16,16.18,18.37,16.38), (13.39,20.18,15.44,20.38), (15.44,20.18,17.81,20.38), (22.94,21.62,24.94,21.82), (11.05,27.275,18.67,27.48), (11.24,27.28,11.39,27.48), (23.01,27.82,24.38,28.02), (12.83,29.26,14.88,29.46), (14.88,29.26,17.25,29.46), (22.425,33.24,27.18,33.46), (21.8,35.07,24.775,35.29), (24.775,35.07,26.62,35.29), (23.085,35.975,26.06,36.195), (20.97,36.895,21.26,37.115), (21.26,36.895,23.39,37.115), (22.985,39.6,25.5,39.82), (20.94,40.17,21.16,40.42), (21.8,41.43,22.1,41.55), (20.95,41.465,21.16,41.715), (21.8,41.55,22.425,41.77), (22.425,41.55,24.38,41.77), (24.38,41.55,24.94,41.77), (22.425,42.34,24.38,42.56), (20.96,43.26,22.325,43.48)])
R(count_data_check_1, Metal2_pin, [(11.24,-4.64,11.45,-4.44), (11.24,1.14,11.42,1.3), (11.24,8.44,11.48,8.64), (11.24,14.2,11.44,14.39), (11.24,21.52,11.45,21.72), (11.24,27.32,11.45,27.45), (18.79,41.01,19,41.24)])
A(count_data_check_1, Metal3, 12.83, 28.12, 0.34, 0.2, 6, 1, 0.56, 0)
R(count_data_check_1, Metal3, [(12.83,-6.69,13.17,28.24), (13.39,-6.69,13.73,28.18), (13.95,-6.69,14.29,28.22), (14.51,-6.69,14.85,28.21), (15.07,-6.69,15.41,28.21), (15.63,-6.69,15.97,28.22), (26.84,-4.54,27.18,33.46), (10.99,-1.435,11.21,1.32), (26.28,1.66,26.62,35.29), (25.72,8.54,26.06,28.02), (25.72,8.99,25.89,27.94), (10.99,11.64,11.21,14.385), (25.16,14.74,25.5,39.82), (24.6,21.62,24.94,41.77), (10.99,24.73,11.21,27.475), (26.28,27.7,26.62,35.18), (24.15,27.82,24.38,42.56), (25.72,27.94,26.06,36.195), (24.66,28.07,24.94,41.77), (25.26,28.1,25.5,39.6), (24.04,28.2,24.31,42.56), (26.84,28.22,27.18,33.24), (12.83,28.32,13.17,29.46), (26.84,33.12,27.18,33.46), (26.84,33.24,27.18,33.35), (26.28,35.07,26.62,35.08), (25.72,35.975,26.06,36.13), (20.96,37.59,21.16,39.72), (20.96,42.16,21.16,43.48), (24.04,42.34,24.38,42.56)])
R(count_data_check_1, Metal3_pin, [(15.15,-6.64,15.32,-6.5), (15.7,-6.62,15.87,-6.45), (12.9,-6.61,13.09,-6.45), (14.63,-6.61,14.78,-6.48), (13.46,-6.6,13.66,-6.45), (14.06,-6.59,14.21,-6.46)])
count_data_check_1.add(gdstk.Reference(nand_3in_1, (21.52,0)))
count_data_check_1.add(gdstk.Reference(ntap1_37_2, (9.03,30.97)))
count_data_check_1.add(gdstk.Reference(via_17_1, (11.1,11.74)))
count_data_check_1.add(gdstk.Reference(via_17_1, (11.1,24.82)))
count_data_check_1.add(gdstk.Reference(via_17_1, (11.1,14.29)))
count_data_check_1.add(gdstk.Reference(via_17_1, (11.1,-1.34)))
count_data_check_1.add(gdstk.Reference(via_17_1, (11.1,1.22)))
count_data_check_1.add(gdstk.Reference(xnor_1_1, (15.69,5.97), x_reflection=True))
count_data_check_1.add(gdstk.Reference(xnor_1_1, (15.69,17.51)))
count_data_check_1.add(gdstk.Reference(xnor_1_1, (15.69,-7.11), x_reflection=True))
count_data_check_1.add(gdstk.Reference(via_17_1, (13,29.11), rotation=3*pi/2))
count_data_check_1.add(gdstk.Reference(via_17_1, (14.12,16.03), rotation=3*pi/2))
count_data_check_1.add(gdstk.Reference(via_17_1, (13.56,20.03), rotation=3*pi/2))
count_data_check_1.add(gdstk.Reference(via_17_1, (14.68,6.95), rotation=3*pi/2))
count_data_check_1.add(gdstk.Reference(via_17_1, (15.24,2.95), rotation=3*pi/2))
count_data_check_1.add(gdstk.Reference(via_17_1, (15.8,-6.13), rotation=3*pi/2))
count_data_check_1.add(gdstk.Reference(via_16_1, (18.73,21.6), rotation=3*pi/2))
count_data_check_1.add(gdstk.Reference(via_16_1, (18.725,8.51), rotation=3*pi/2))
count_data_check_1.add(gdstk.Reference(via_16_1, (18.73,-4.62), rotation=3*pi/2))
count_data_check_1.add(gdstk.Reference(ntap1_37_2, (10.05,30.97)))
count_data_check_1.add(gdstk.Reference(ntap1_37_2, (10.05,17.89)))
count_data_check_1.add(gdstk.Reference(ntap1_37_2, (10.05,4.81)))
count_data_check_1.add(gdstk.Reference(ntap1_37_2, (10.05,-8.27)))
count_data_check_1.add(gdstk.Reference(ptap1_7_1, (11.08,24.43)))
count_data_check_1.add(gdstk.Reference(xnor_1_1, (15.69,19.05), x_reflection=True))
count_data_check_1.add(gdstk.Reference(xnor_1_1, (15.69,30.59)))
count_data_check_1.add(gdstk.Reference(nand_3in_1, (21.52,75.8), x_reflection=True))
count_data_check_1.add(gdstk.Reference(xnor_1_1, (15.69,4.43)))
count_data_check_1.add(gdstk.Reference(via_11_2, (24.21,27.92)))
count_data_check_1.add(gdstk.Reference(ptap1_7_1, (11.08,11.35)))
count_data_check_1.add(gdstk.Reference(ptap1_7_1, (11.08,-1.73)))
count_data_check_1.add(gdstk.Reference(via_11_2, (24.77,21.72)))
count_data_check_1.add(gdstk.Reference(via_11_2, (25.33,14.84)))
count_data_check_1.add(gdstk.Reference(via_11_2, (25.89,8.64)))
count_data_check_1.add(gdstk.Reference(via_11_2, (26.45,1.76)))
count_data_check_1.add(gdstk.Reference(via_11_2, (27.01,-4.44)))
count_data_check_1.add(gdstk.Reference(ptap1_7_1, (15.5,37.51)))
count_data_check_1.add(gdstk.Reference(via_17_1, (21.06,40.07), rotation=3*pi/2))
count_data_check_1.add(gdstk.Reference(via_17_1, (21.06,41.81), rotation=3*pi/2))
count_data_check_1.add(gdstk.Reference(via_17_1, (21.06,43.13), rotation=3*pi/2))
count_data_check_1.add(gdstk.Reference(via_17_1, (21.06,37.24), rotation=3*pi/2))
count_data_check_1.add(gdstk.Reference(via_11_2, (24.21,42.45)))
count_data_check_1.add(gdstk.Reference(via_11_2, (24.77,41.66)))
count_data_check_1.add(gdstk.Reference(via_11_2, (25.33,39.71)))
count_data_check_1.add(gdstk.Reference(via_11_2, (25.89,36.08)))
count_data_check_1.add(gdstk.Reference(via_11_2, (26.45,35.18)))
count_data_check_1.add(gdstk.Reference(via_11_2, (27.01,33.35)))
count_data_check_1.add(gdstk.Reference(ntap1_37_2, (16.51,44.05)))
count_data_check_1.add(gdstk.Reference(nor_2in_1, (15.39,42.24)))
count_data_check_1.add(gdstk.Reference(via_17_1, (11.1,27.38)))
count_data_check_1.add(gdstk.Label('VP', (17.22,44.53), layer=8, texttype=2))
count_data_check_1.add(gdstk.Label('VP', (15.97,31.32), layer=8, texttype=2))
count_data_check_1.add(gdstk.Label('VP', (15.97,18.1), layer=8, texttype=2))
count_data_check_1.add(gdstk.Label('VP', (15.97,5.07), layer=8, texttype=2))
count_data_check_1.add(gdstk.Label('VP', (15.97,-8), layer=8, texttype=2))
count_data_check_1.add(gdstk.Label('GND', (16.33,24.76), layer=8, texttype=2))
count_data_check_1.add(gdstk.Label('GND', (16.33,11.7), layer=8, texttype=2))
count_data_check_1.add(gdstk.Label('GND', (16.33,-1.41), layer=8, texttype=2))
count_data_check_1.add(gdstk.Label('c0', (11.315,27.38), layer=10, texttype=2))
count_data_check_1.add(gdstk.Label('c2', (11.315,14.3), layer=10, texttype=2))
count_data_check_1.add(gdstk.Label('c4', (11.315,1.22), layer=10, texttype=2))
count_data_check_1.add(gdstk.Label('c5', (11.35,-4.55), layer=10, texttype=2))
count_data_check_1.add(gdstk.Label('c3', (11.315,8.54), layer=10, texttype=2))
count_data_check_1.add(gdstk.Label('c1', (11.315,21.62), layer=10, texttype=2))
count_data_check_1.add(gdstk.Label('out', (18.93,41.19), layer=10, texttype=2))
count_data_check_1.add(gdstk.Label('d0', (12.99,-6.55), layer=30, texttype=2))
count_data_check_1.add(gdstk.Label('d1', (13.56,-6.55), layer=30, texttype=2))
count_data_check_1.add(gdstk.Label('d2', (14.135,-6.525), layer=30, texttype=2))
count_data_check_1.add(gdstk.Label('d3', (14.705,-6.545), layer=30, texttype=2))
count_data_check_1.add(gdstk.Label('d4', (15.21,-6.56), layer=30, texttype=2))
count_data_check_1.add(gdstk.Label('d5', (15.81,-6.56), layer=30, texttype=2))

lib.write_gds('count_data_check_1.gds')
